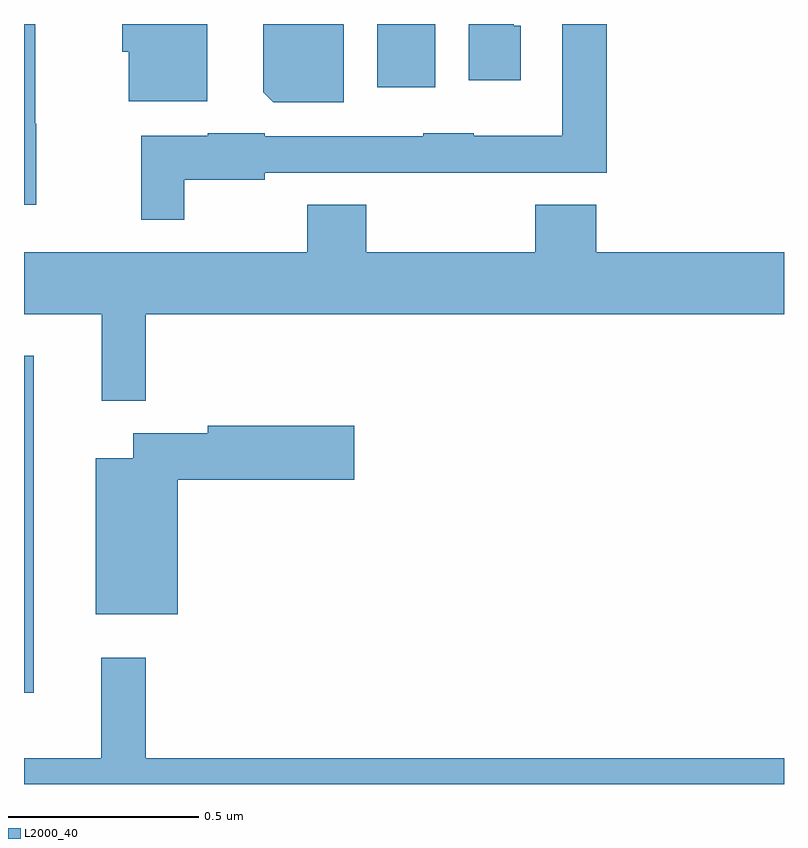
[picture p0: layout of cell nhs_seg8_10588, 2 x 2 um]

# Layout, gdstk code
import gdstk
lib = gdstk.Library(unit=1e-6, precision=1e-09)
def R(c, l, rs):  # rectangles x0, y0, x1, y1
    for r in rs: c.add(gdstk.rectangle(r[:2], r[2:], *l))
def P(c, l, *ps):  # polygons
    for p in ps: c.add(gdstk.Polygon(p, *l))
L2000_40 = (2000, 40)

nhs_seg8_10588 = lib.new_cell('nhs_seg8_10588')
R(nhs_seg8_10588, L2000_40, [(251,1146.14,251.026,1147.027), (251.93,1147.734,252.082,1147.9)])
P(nhs_seg8_10588, L2000_40, [(251.842,1147.898),(251.84,1147.9),(251.63,1147.9),(251.63,1147.72),(251.656,1147.694),(251.842,1147.694)],
  [(251.422,1147.49),(251.634,1147.49),(251.634,1147.509),(252.051,1147.509),(252.051,1147.508),(252.283,1147.508),(252.283,1147.509),(252.533,1147.509),(252.533,1147.9),(252.417,1147.9),(252.417,1147.606),(252.183,1147.606),(252.183,1147.612),(252.051,1147.612),(252.051,1147.605),(251.634,1147.605),(251.634,1147.612),(251.484,1147.612),(251.484,1147.606),(251.308,1147.606),(251.308,1147.385),(251.422,1147.385)],
  [(251.032,1147.637),(251.029,1147.637),(251.029,1147.9),(251,1147.9),(251,1147.425),(251.032,1147.425)],
  [(252.307,1147.896),(252.289,1147.896),(252.289,1147.9),(252.17,1147.9),(252.17,1147.752),(252.307,1147.752)],
  [(251.482,1147.9),(251.258,1147.9),(251.258,1147.827),(251.276,1147.827),(251.276,1147.697),(251.482,1147.697)],
  [(251.321,1147.136),(253,1147.136),(253,1147.3),(252.506,1147.3),(252.506,1147.424),(252.346,1147.424),(252.346,1147.3),(251.901,1147.3),(251.901,1147.424),(251.746,1147.424),(251.746,1147.3),(251,1147.3),(251,1147.136),(251.204,1147.136),(251.204,1146.908),(251.321,1146.908)],
  [(251.404,1146.701),(251.869,1146.701),(251.869,1146.843),(251.484,1146.843),(251.484,1146.823),(251.288,1146.823),(251.288,1146.757),(251.189,1146.757),(251.189,1146.347),(251.404,1146.347)],
  [(253,1145.968),(251.321,1145.968),(251.321,1146.232),(251.203,1146.232),(251.203,1145.968),(251,1145.968),(251,1145.9),(253,1145.9)])

lib.write_gds('nhs_seg8_10588.gds')
